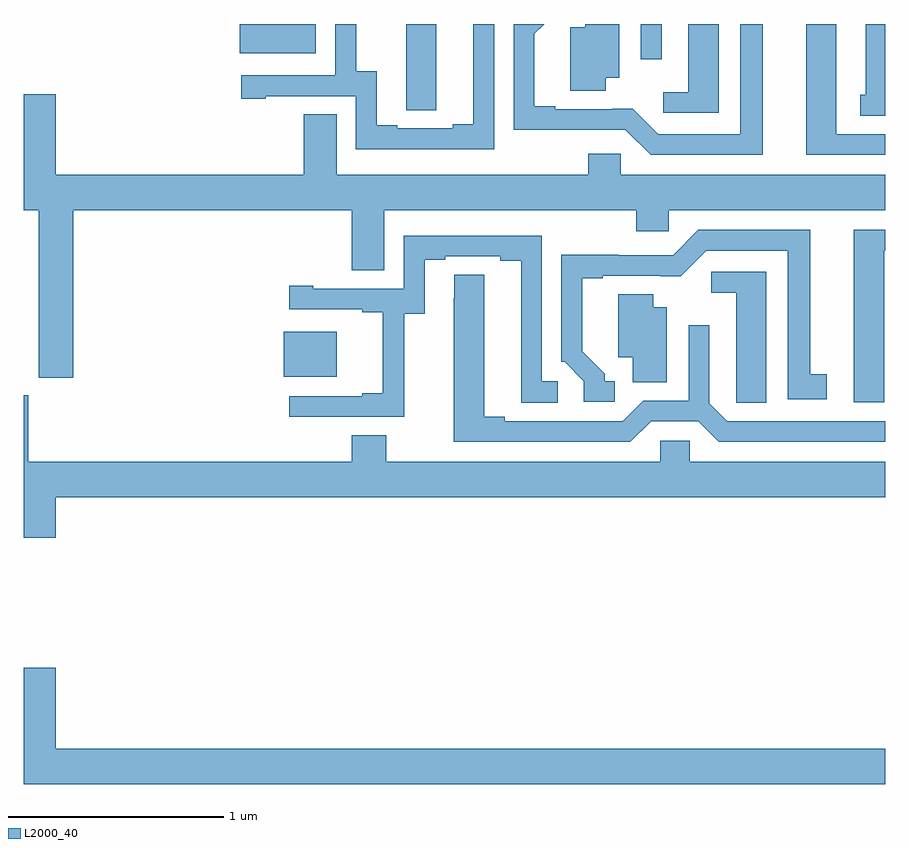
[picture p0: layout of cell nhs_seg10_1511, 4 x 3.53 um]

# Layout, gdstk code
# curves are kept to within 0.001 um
import gdstk
lib = gdstk.Library(unit=1e-6, precision=1e-09)
def R(c, l, rs):  # rectangles x0, y0, x1, y1
    for r in rs: c.add(gdstk.rectangle(r[:2], r[2:], *l))
def P(c, l, *ps):  # polygons
    for p in ps: c.add(gdstk.Polygon(p, *l))
L2000_40 = (2000, 40)

nhs_seg10_1511 = lib.new_cell('nhs_seg10_1511')
R(nhs_seg10_1511, L2000_40, [(190.208,1312.862,190.453,1313.071), (191.865,1314.336,191.961,1314.5), (190.004,1314.365,190.357,1314.5)])
P(nhs_seg10_1511, L2000_40, [(192.43,1314.5),(192.326,1314.5),(192.326,1313.988),(191.946,1313.988),(191.828,1314.106),(191.467,1314.105),(191.467,1314.118),(191.371,1314.118),(191.371,1314.454),(191.417,1314.5),(191.274,1314.5),(191.274,1314.008),(191.793,1314.009),(191.91,1313.892),(192.43,1313.892)],
  [(190.915,1314.5),(190.775,1314.5),(190.775,1314.208),(190.776,1314.208),(190.776,1314.1),(190.915,1314.1)],
  [(193,1314.5),(192.908,1314.5),(192.908,1314.171),(192.884,1314.171),(192.884,1314.073),(193,1314.073)],
  [(192.226,1314.5),(192.086,1314.5),(192.086,1314.184),(191.97,1314.184),(191.97,1314.087),(192.226,1314.087)],
  [(191.701,1314.251),(191.764,1314.251),(191.764,1314.5),(191.606,1314.5),(191.606,1314.484),(191.537,1314.484),(191.537,1314.19),(191.701,1314.19)],
  [(193,1313.988),(192.772,1313.988),(192.772,1314.5),(192.632,1314.5),(192.632,1313.892),(193,1313.892)],
  [(191.184,1314.5),(191.087,1314.5),(191.087,1314.035),(190.991,1314.035),(190.991,1314.015),(190.735,1314.015),(190.735,1314.03),(190.639,1314.03),(190.639,1314.281),(190.545,1314.281),(190.545,1314.5),(190.446,1314.5),(190.446,1314.261),(190.011,1314.261),(190.011,1314.153),(190.123,1314.153),(190.123,1314.165),(190.542,1314.165),(190.542,1313.919),(191.184,1313.919)],
  [(189.23,1313.636),(190.523,1313.636),(190.523,1313.356),(190.675,1313.356),(190.675,1313.636),(191.843,1313.636),(191.843,1313.538),(191.994,1313.538),(191.994,1313.636),(193,1313.636),(193,1313.8),(191.772,1313.8),(191.772,1313.898),(191.621,1313.898),(191.621,1313.8),(190.453,1313.8),(190.453,1314.08),(190.301,1314.08),(190.301,1313.8),(189.148,1313.8),(189.148,1314.175),(189,1314.175),(189,1313.636),(189.07,1313.636),(189.07,1312.857),(189.23,1312.857)],
  [(191.743,1312.842),(191.698,1312.842),(191.698,1312.877),(191.593,1312.982),(191.593,1313.319),(191.689,1313.319),(191.689,1313.331),(192.05,1313.33),(192.168,1313.448),(192.548,1313.448),(192.548,1312.758),(192.727,1312.758),(192.727,1312.874),(192.652,1312.874),(192.652,1313.544),(192.132,1313.544),(192.015,1313.427),(191.759,1313.427),(191.759,1313.429),(191.496,1313.429),(191.496,1312.932),(191.511,1312.932),(191.601,1312.842),(191.601,1312.746),(191.743,1312.746)],
  [(192.994,1313.448),(193,1313.448),(193,1313.544),(192.854,1313.544),(192.854,1312.743),(192.994,1312.743)],
  [(190.767,1313.155),(190.861,1313.155),(190.861,1313.406),(190.957,1313.406),(190.957,1313.421),(191.213,1313.421),(191.213,1313.401),(191.309,1313.401),(191.309,1312.741),(191.479,1312.741),(191.479,1312.842),(191.406,1312.842),(191.406,1313.517),(190.764,1313.517),(190.764,1313.271),(190.345,1313.271),(190.345,1313.284),(190.233,1313.284),(190.233,1313.175),(190.571,1313.175),(190.571,1313.163),(190.667,1313.163),(190.667,1312.786),(190.571,1312.786),(190.571,1312.773),(190.233,1312.773),(190.233,1312.677),(190.767,1312.677)],
  [(192.448,1313.349),(192.192,1313.349),(192.192,1313.252),(192.308,1313.252),(192.308,1312.849),(192.309,1312.849),(192.309,1312.741),(192.448,1312.741)],
  [(191.913,1312.656),(192.131,1312.656),(192.227,1312.56),(193,1312.56),(193,1312.656),(192.267,1312.656),(192.183,1312.74),(192.183,1313.101),(192.087,1313.101),(192.087,1312.752),(191.877,1312.752),(191.781,1312.656),(191.233,1312.656),(191.233,1312.676),(191.137,1312.676),(191.137,1313.336),(190.998,1313.336),(190.997,1312.56),(191.817,1312.56)],
  [(191.986,1313.185),(191.923,1313.185),(191.923,1313.246),(191.759,1313.246),(191.759,1312.952),(191.828,1312.952),(191.828,1312.837),(191.986,1312.837)],
  [(189.148,1312.304),(193,1312.304),(193,1312.468),(192.093,1312.468),(192.093,1312.566),(191.955,1312.566),(191.955,1312.468),(190.683,1312.468),(190.683,1312.592),(190.523,1312.592),(190.523,1312.468),(189.022,1312.468),(189.022,1312.777),(189,1312.777),(189,1312.116),(189.148,1312.116)],
  [(193,1311.136),(189.148,1311.136),(189.148,1311.511),(189,1311.511),(189,1310.972),(193,1310.972)])

lib.write_gds('nhs_seg10_1511.gds')
